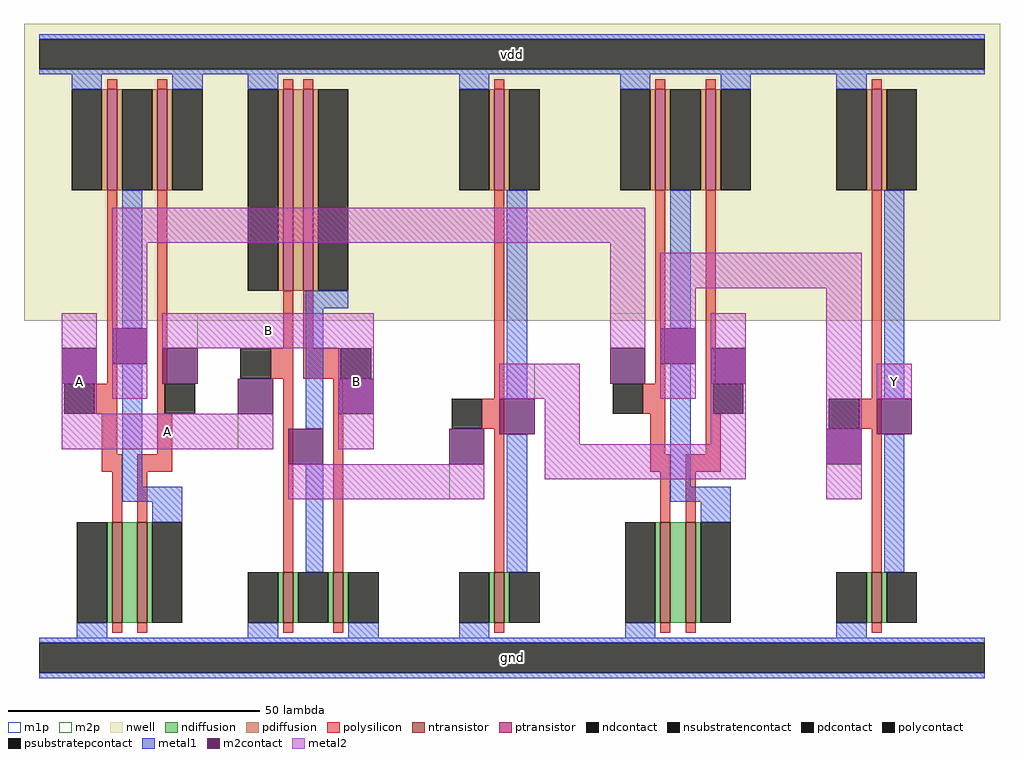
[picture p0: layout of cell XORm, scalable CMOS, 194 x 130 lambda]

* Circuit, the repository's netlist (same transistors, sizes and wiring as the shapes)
* NGSPICE file created from XORm.ext - technology: scmos

.global Vdd Gnd 

.subckt INVX1 A Y vdd gnd
M1000 Y A vdd vdd pfet w=20u l=2u
+  ad=0.14n pd=54u as=0.14n ps=54u
M1001 Y A gnd Gnd nfet w=10u l=2u
+  ad=70p pd=34u as=70p ps=34u
.ends

.subckt INVm INVX1_0/A INVX1_0/vdd INVX1_0/gnd INVX1_0/Y
XINVX1_0 INVX1_0/A INVX1_0/Y INVX1_0/vdd INVX1_0/gnd INVX1
.ends

.subckt NAND2X1 A B Y vdd gnd
M1000 a_27_14# A gnd Gnd nfet w=20u l=2u
+  ad=30p pd=23u as=0.14n ps=54u
M1001 Y A vdd vdd pfet w=20u l=2u
+  ad=80p pd=28u as=0.14n ps=54u
M1002 Y B a_27_14# Gnd nfet w=20u l=2u
+  ad=0.14n pd=54u as=30p ps=23u
M1003 vdd B Y vdd pfet w=20u l=2u
+  ad=0.14n pd=54u as=80p ps=28u
.ends

.subckt NANDm NAND2X1_0/vdd NAND2X1_0/gnd NAND2X1_0/B NAND2X1_0/A NAND2X1_0/Y
XNAND2X1_0 NAND2X1_0/A NAND2X1_0/B NAND2X1_0/Y NAND2X1_0/vdd NAND2X1_0/gnd NAND2X1
.ends

.subckt NOR2X1 A B Y vdd gnd
M1000 Y A gnd Gnd nfet w=10u l=2u
+  ad=40p pd=18u as=70p ps=34u
M1001 a_25_146# A vdd vdd pfet w=40u l=2u
+  ad=40p pd=42u as=0.28n ps=94u
M1002 gnd B Y Gnd nfet w=10u l=2u
+  ad=70p pd=34u as=40p ps=18u
M1003 Y B a_25_146# vdd pfet w=40u l=2u
+  ad=0.28n pd=94u as=40p ps=42u
.ends

.subckt NORm NOR2X1_0/gnd NOR2X1_0/B NOR2X1_0/A NOR2X1_0/Y NOR2X1_0/vdd
XNOR2X1_0 NOR2X1_0/A NOR2X1_0/B NOR2X1_0/Y NOR2X1_0/vdd NOR2X1_0/gnd NOR2X1
.ends

.subckt XORm vdd gnd B Y A
XINVm_0 INVm_0/INVX1_0/A INVm_1/INVX1_0/vdd INVm_1/INVX1_0/gnd INVm_0/INVX1_0/Y INVm
XINVm_1 INVm_1/INVX1_0/A INVm_1/INVX1_0/vdd INVm_1/INVX1_0/gnd INVm_1/INVX1_0/Y INVm
XNANDm_0 INVm_1/INVX1_0/vdd INVm_1/INVX1_0/gnd B A NANDm_1/NAND2X1_0/A NANDm
XNANDm_1 INVm_1/INVX1_0/vdd INVm_1/INVX1_0/gnd INVm_0/INVX1_0/Y NANDm_1/NAND2X1_0/A
+ INVm_1/INVX1_0/A NANDm
XNORm_0 INVm_1/INVX1_0/gnd B A INVm_0/INVX1_0/A INVm_1/INVX1_0/vdd NORm
.ends

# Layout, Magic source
magic
tech scmos
magscale 1 2
<< metal2 >>
rect -457 355 -245 369
rect -477 287 -463 327
rect -457 293 -443 355
rect -437 313 -353 327
rect -259 313 -245 355
rect -239 337 -159 351
rect -477 273 -393 287
rect -367 273 -353 313
rect -303 293 -271 307
rect -239 293 -225 337
rect -285 275 -271 293
rect -219 275 -205 327
rect -387 253 -309 267
rect -285 261 -205 275
rect -173 253 -159 337
use INVm  INVm_0
transform 1 0 -330 0 1 196
box -8 -14 76 246
use INVm  INVm_1
transform 1 0 -180 0 1 196
box -8 -14 76 246
use NANDm  NANDm_0
transform 1 0 -480 0 1 190
box -12 -8 92 252
use NANDm  NANDm_1
transform 1 0 -262 0 1 190
box -12 -8 92 252
use NORm  NORm_0
transform 1 0 -410 0 1 190
box -12 -8 92 252
<< labels >>
rlabel nsubstratencontact -486 424 -110 436 0 vdd
port 1 nsew
rlabel psubstratepcontact -486 184 -110 196 0 gnd
port 2 nsew
rlabel metal2 -437 313 -353 327 0 B
port 4 nsew
rlabel metal2 -153 293 -139 307 0 Y
port 5 nsew
rlabel metal2 -477 273 -463 327 0 A
port 6 nsew
rlabel metal2 -477 273 -393 287 0 A
port 6 nsew
rlabel metal2 -367 273 -353 327 0 B
port 4 nsew
<< end >>

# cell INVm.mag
magic
tech scmos
use INVX1  INVX1_0 digital_ETRI_copy
transform 1 0 2 0 1 -3
box -6 -4 36 126
<< end >>

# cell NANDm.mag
magic
tech scmos
use NAND2X1  NAND2X1_0 digital_ETRI_copy
transform 1 0 0 0 1 0
box -6 -4 46 126
<< end >>

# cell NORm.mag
magic
tech scmos
use NOR2X1  NOR2X1_0 digital_ETRI_copy
transform 1 0 0 0 1 0
box -6 -4 46 126
<< end >>

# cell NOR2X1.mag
magic
tech scmos
magscale 1 2
<< nwell >>
rect -12 134 92 252
<< ntransistor >>
rect 21 14 25 34
rect 41 14 45 34
<< ptransistor >>
rect 21 146 25 226
rect 29 146 33 226
<< ndiffusion >>
rect 19 14 21 34
rect 25 14 27 34
rect 39 14 41 34
rect 45 14 47 34
<< pdiffusion >>
rect 19 146 21 226
rect 25 146 29 226
rect 33 146 35 226
<< ndcontact >>
rect 7 14 19 34
rect 27 14 39 34
rect 47 14 59 34
<< pdcontact >>
rect 7 146 19 226
rect 35 146 47 226
<< psubstratepcontact >>
rect -6 -6 86 6
<< nsubstratencontact >>
rect -6 234 86 246
<< polysilicon >>
rect 21 226 25 230
rect 29 226 33 230
rect 21 123 25 146
rect 16 111 25 123
rect 29 123 33 146
rect 29 111 44 123
rect 21 34 25 111
rect 41 34 45 111
rect 21 10 25 14
rect 41 10 45 14
<< polycontact >>
rect 4 111 16 123
rect 44 111 56 123
<< metal1 >>
rect -6 246 86 248
rect -6 232 86 234
rect 7 226 19 232
rect 30 139 47 146
rect 30 91 37 139
rect 30 34 37 77
rect 7 8 19 14
rect 47 8 59 14
rect -6 6 86 8
rect -6 -8 86 -6
<< m2contact >>
rect 3 97 17 111
rect 43 97 57 111
rect 23 77 37 91
<< metal2 >>
rect 3 83 17 97
rect 43 83 57 97
rect 23 63 37 77
<< m1p >>
rect -6 232 86 248
rect -6 -8 86 8
<< m2p >>
rect 3 83 17 97
rect 43 83 57 97
rect 23 63 37 77
<< labels >>
rlabel metal1 -6 -8 86 8 0 gnd
port 4 nsew ground bidirectional abutment
rlabel metal1 -6 232 86 248 0 vdd
port 3 nsew power bidirectional abutment
rlabel metal2 43 83 57 97 0 B
port 1 nsew signal input
rlabel metal2 3 83 17 97 0 A
port 0 nsew signal input
rlabel metal2 23 63 37 77 0 Y
port 2 nsew signal output
<< properties >>
string FIXED_BBOX 0 0 80 240
string LEFclass CORE
string LEFsite core
string LEFsymmetry X Y
<< end >>

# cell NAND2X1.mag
magic
tech scmos
magscale 1 2
<< nwell >>
rect -12 134 92 252
<< ntransistor >>
rect 23 14 27 54
rect 33 14 37 54
<< ptransistor >>
rect 21 186 25 226
rect 41 186 45 226
<< ndiffusion >>
rect 21 14 23 54
rect 27 14 33 54
rect 37 14 39 54
<< pdiffusion >>
rect 19 186 21 226
rect 25 186 27 226
rect 39 186 41 226
rect 45 186 47 226
<< ndcontact >>
rect 9 14 21 54
rect 39 14 51 54
<< pdcontact >>
rect 7 186 19 226
rect 27 186 39 226
rect 47 186 59 226
<< psubstratepcontact >>
rect -6 -6 86 6
<< nsubstratencontact >>
rect -6 234 86 246
<< polysilicon >>
rect 21 226 25 230
rect 41 226 45 230
rect 21 109 25 186
rect 16 97 25 109
rect 19 81 25 97
rect 41 109 45 186
rect 41 97 44 109
rect 41 81 47 97
rect 19 74 27 81
rect 23 54 27 74
rect 33 74 47 81
rect 33 54 37 74
rect 23 10 27 14
rect 33 10 37 14
<< polycontact >>
rect 4 97 16 109
rect 44 97 56 109
<< metal1 >>
rect -6 246 86 248
rect -6 232 86 234
rect 7 226 19 232
rect 47 226 59 232
rect 27 131 35 186
rect 27 68 35 117
rect 27 62 51 68
rect 39 54 51 62
rect 9 8 21 14
rect -6 6 86 8
rect -6 -8 86 -6
<< m2contact >>
rect 3 109 17 123
rect 23 117 37 131
rect 43 109 57 123
<< metal2 >>
rect 3 123 17 137
rect 23 103 37 117
rect 43 123 57 137
<< m1p >>
rect -6 232 86 248
rect -6 -8 86 8
<< m2p >>
rect 3 123 17 137
rect 43 123 57 137
rect 23 103 37 117
<< labels >>
rlabel metal1 -6 -8 86 8 0 gnd
port 4 nsew ground bidirectional abutment
rlabel metal1 -6 232 86 248 0 vdd
port 3 nsew power bidirectional abutment
rlabel metal2 3 123 17 137 0 A
port 0 nsew signal input
rlabel metal2 43 123 57 137 0 B
port 1 nsew signal input
rlabel metal2 23 103 37 117 0 Y
port 2 nsew signal output
<< properties >>
string FIXED_BBOX 0 0 80 240
string LEFclass CORE
string LEFsite core
string LEFsymmetry X Y
<< end >>

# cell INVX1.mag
magic
tech scmos
magscale 1 2
<< nwell >>
rect -12 134 72 252
<< ntransistor >>
rect 21 14 25 34
<< ptransistor >>
rect 21 186 25 226
<< ndiffusion >>
rect 19 14 21 34
rect 25 14 27 34
<< pdiffusion >>
rect 19 186 21 226
rect 25 186 27 226
<< ndcontact >>
rect 7 14 19 34
rect 27 14 39 34
<< pdcontact >>
rect 7 186 19 226
rect 27 186 39 226
<< psubstratepcontact >>
rect -6 -6 66 6
<< nsubstratencontact >>
rect -6 234 66 246
<< polysilicon >>
rect 21 226 25 230
rect 21 103 25 186
rect 16 91 25 103
rect 21 34 25 91
rect 21 10 25 14
<< polycontact >>
rect 4 91 16 103
<< metal1 >>
rect -6 246 66 248
rect -6 232 66 234
rect 7 226 19 232
rect 26 103 34 186
rect 26 34 34 89
rect 7 8 19 14
rect -6 6 66 8
rect -6 -8 66 -6
<< m2contact >>
rect 3 77 17 91
rect 23 89 37 103
<< metal2 >>
rect 23 103 37 117
rect 3 63 17 77
<< m1p >>
rect -6 232 66 248
rect -6 -8 66 8
<< m2p >>
rect 23 103 37 117
rect 3 63 17 77
<< labels >>
rlabel metal1 -6 -8 66 8 0 gnd
port 3 nsew ground bidirectional abutment
rlabel metal1 -6 232 66 248 0 vdd
port 2 nsew power bidirectional abutment
rlabel metal2 3 63 17 77 0 A
port 0 nsew signal input
rlabel metal2 23 103 37 117 0 Y
port 1 nsew signal output
<< properties >>
string FIXED_BBOX 0 0 60 240
string LEFclass CORE
string LEFsite core
string LEFsymmetry X Y
<< end >>
